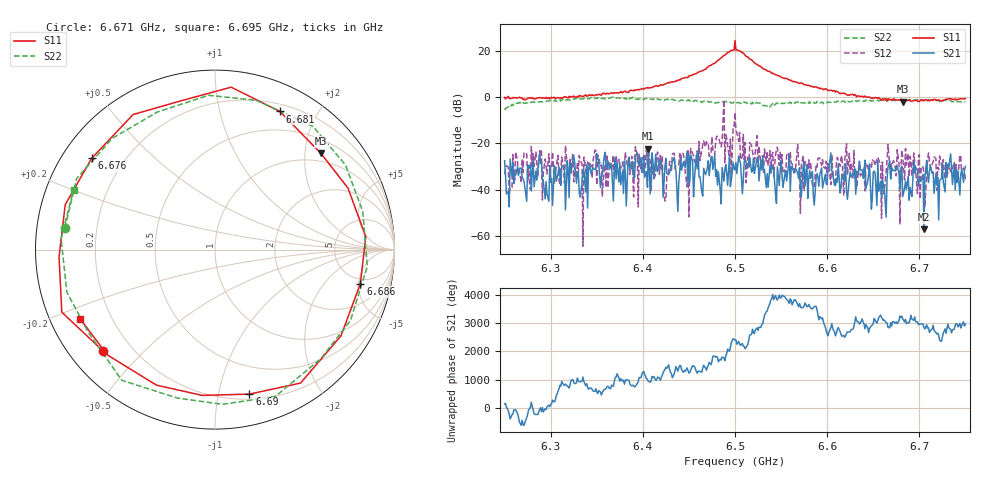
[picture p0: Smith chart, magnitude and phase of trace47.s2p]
# Hz S RI R 50
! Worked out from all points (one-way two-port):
!   401 points, 6.25 GHz to 6.75 GHz, reference 50 ohm
!   highest |S21| = -22.32 dB at 6.406 GHz (marker M1); lowest = -57.2 dB at 6.705 GHz (marker M2)
!   lowest |S11| = -2.0 dB at 6.682 GHz (marker M3), VSWR 8.87, Z = 39.9 + j118 ohm
!   |S11| at or under -10 dB: nowhere
!   |S22| runs from -5.5 to 0.0 dB; largest |S21 - S12| = 0.87
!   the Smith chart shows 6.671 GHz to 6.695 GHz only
!   S11 on the Smith chart (normalised r, x): 6.671 GHz: 0.10, -0.38; 6.676 GHz: 0.09, +0.33; 6.681 GHz: 0.28, +1.54; 6.686 GHz: 4.25, -5.26; 6.69 GHz: 0.24, -1.24; 6.695 GHz: 0.09, -0.24
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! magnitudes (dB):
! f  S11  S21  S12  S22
! 6.25 GHz  -0.1  -27.5  -33.5  -5.5
! 6.334 GHz  0.4  -37.2  -28.8  -0.8
! 6.406 GHz  3.9  -22.3  -23.3  -0.6
! 6.418 GHz  5.0  -27.1  -33.4  -1.2
! 6.425 GHz  5.8  -26.5  -44.5  -1.1
! 6.431 GHz  6.5  -30.2  -32.3  -1.0
! 6.449 GHz  8.5  -38.2  -22.6  -1.5
! 6.5 GHz  24.5  -31.5  -6.7  -2.2
! 6.512 GHz  17.6  -28.5  -37.1  -2.2
! 6.584 GHz  4.5  -32.1  -38.4  -2.3
! 6.654 GHz  -0.4  -46.9  -26.7  -1.4
! 6.661 GHz  -1.3  -38.7  -41.8  -1.5
! 6.668 GHz  -1.1  -27.6  -30.4  -1.2
! 6.671 GHz  -1.5  -31.8  -28.5  -1.5
! 6.676 GHz  -1.4  -30.0  -22.8  -1.3
! 6.681 GHz  -1.4  -29.9  -22.9  -1.4
! 6.682 GHz  -2.0  -43.1  -25.8  -1.4
! 6.686 GHz  -1.6  -40.0  -29.4  -1.1
! 6.69 GHz  -1.6  -39.2  -25.6  -1.0
! 6.695 GHz  -1.5  -32.9  -28.2  -1.4
! 6.705 GHz  -1.5  -57.2  -33.8  -1.2
! 6.75 GHz  -0.7  -30.0  -35.7  -2.2
